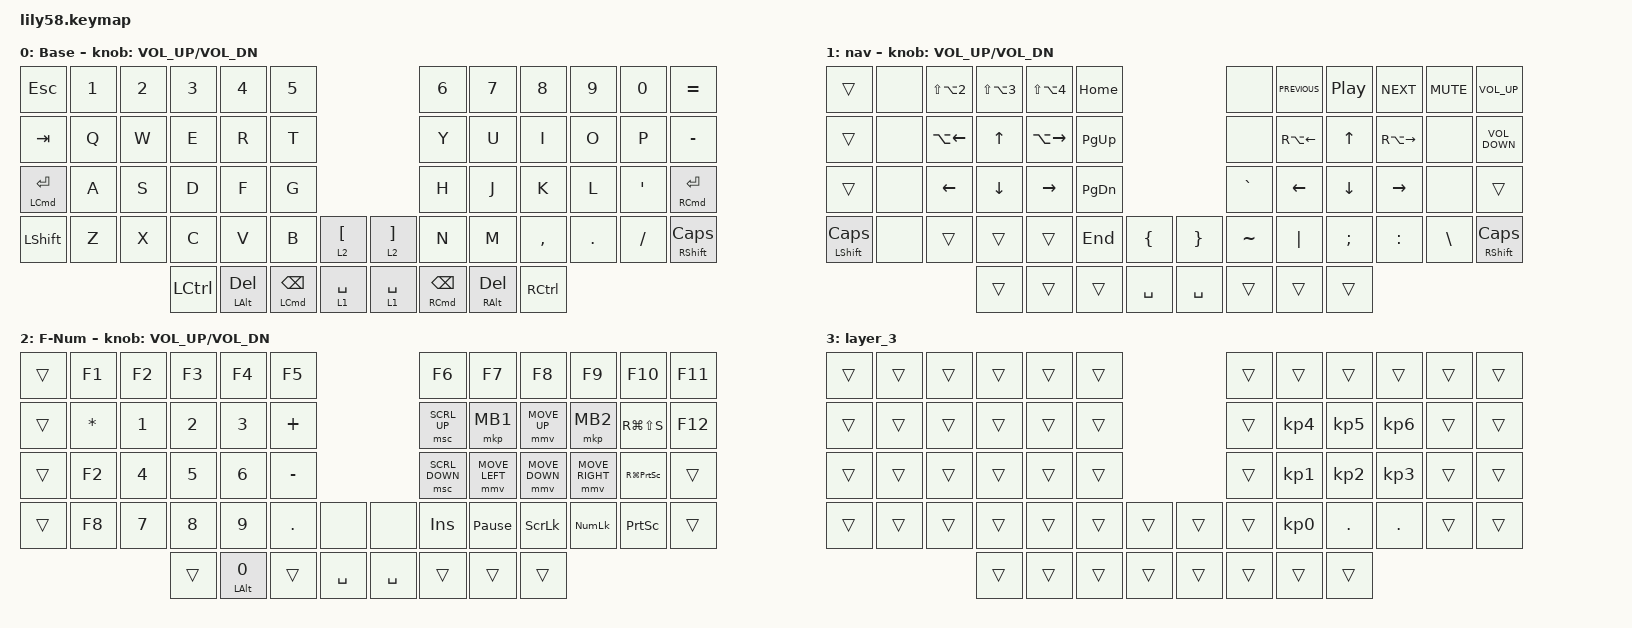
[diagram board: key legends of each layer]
/*
 * Copyright (c) 2020 The ZMK Contributors
 *
 * SPDX-License-Identifier: MIT
 */

#include <behaviors.dtsi>
#include <dt-bindings/zmk/keys.h>
#include <dt-bindings/zmk/pointing.h>

/ {
    behaviors {
        hold_tap_kp_layer: hold_tap_kp_layer {
            compatible = "zmk,behavior-hold-tap";
            label = "HOLD_TAP_KP_LAYER";
            bindings = <&mo>, <&kp>;

            #binding-cells = <2>;
            tapping-term-ms = <200>;
            flavor = "balanced";
            hold-trigger-key-positions = <42 43 53 54>;
        };

        hold_tap_kp_kp: hold_tap_kp_kp {
            compatible = "zmk,behavior-hold-tap";
            label = "HOLD_TAP_KP_KP";
            bindings = <&kp>, <&kp>;

            #binding-cells = <2>;
            tapping-term-ms = <200>;
        };
    };

    keymap {
        compatible = "zmk,keymap";

        default_layer {
            // ------------------------------------------------------------------------------------------------------------
            // |  ESC  |  1  |  2  |  3   |  4   |  5   |                   |  6   |  7    |  8    |  9   |   0   |   `   |
            // |  TAB  |  Q  |  W  |  E   |  R   |  T   |                   |  Y   |  U    |  I    |  O   |   P   |   -   |
            // |  CTRL |  A  |  S  |  D   |  F   |  G   |                   |  H   |  J    |  K    |  L   |   ;   |   '   |
            // | SHIFT |  Z  |  X  |  C   |  V   |  B   |   "["  |  |  "]"  |  N   |  M    |  ,    |  .   |   /   | SHIFT |
            //                     | ALT  | GUI  | LOWER|  SPACE |  | ENTER | RAISE| BSPC  | GUI   |

            display-name = "Base";
            bindings = <
&kp ESC                             &kp N1  &kp N2  &kp N3     &kp N4                        &kp N5                                                                                                           &kp N6                                   &kp N7                         &kp N8     &kp N9   &kp N0          &kp EQUAL
&kp TAB                             &kp Q   &kp W   &kp E      &kp R                         &kp T                                                                                                            &kp Y                                    &kp U                          &kp I      &kp O    &kp P           &kp MINUS
&hold_tap_kp_kp LEFT_COMMAND ENTER  &kp A   &kp S   &kp D      &kp F                         &kp G                                                                                                            &kp H                                    &kp J                          &kp K      &kp L    &kp APOSTROPHE  &hold_tap_kp_kp RIGHT_COMMAND ENTER
&kp LEFT_SHIFT                      &kp Z   &kp X   &kp C      &kp V                         &kp B                                   &hold_tap_kp_layer 2 LEFT_BRACKET    &hold_tap_kp_layer 2 RIGHT_BRACKET  &kp N                                    &kp M                          &kp COMMA  &kp DOT  &kp FSLH        &hold_tap_kp_kp RSHFT CAPS
                                                    &kp LCTRL  &hold_tap_kp_kp LEFT_ALT DEL  &hold_tap_kp_kp LEFT_COMMAND BACKSPACE  &hold_tap_kp_layer 1 SPACE           &hold_tap_kp_layer 1 SPACE          &hold_tap_kp_kp RIGHT_COMMAND BACKSPACE  &hold_tap_kp_kp RIGHT_ALT DEL  &kp RCTRL
            >;

            sensor-bindings = <&inc_dec_kp C_VOL_UP C_VOL_DN>;
        };

        lower_layer {
            // ------------------------------------------------------------------------------------------------------------
            // | BTCLR | BT1 | BT2 |  BT3 |  BT4 |  BT5 |                   |      |       |       |      |       |       |
            // |  F1   |  F2 |  F3 |  F4  |  F5  |  F6  |                   |  F7  |  F8   |  F9   |  F10 |  F11  |  F12  |
            // |   `   |  !  |  @  |  #   |  $   |  %   |                   |  ^   |  &    |  *    |  (   |   )   |   ~   |
            // |       |     |     |      |      |      |        |  |       |      |  _    |  +    |  {   |   }   |  "|"  |
            //                     |      |      |      |        |  |       |      |       |       |

            display-name = "nav";
            bindings = <
&trans                           &none  &kp LS(LA(NUMBER_2))  &kp LS(LA(NUMBER_3))  &kp LS(LA(NUMBER_4))  &kp HOME                                      &none      &kp C_PREVIOUS  &kp C_PLAY_PAUSE  &kp C_NEXT     &kp C_MUTE     &kp C_VOLUME_UP
&trans                           &none  &kp LA(LEFT)          &kp UP                &kp LA(RIGHT)         &kp PG_UP                                     &none      &kp RA(LEFT)    &kp UP            &kp RA(RIGHT)  &none          &kp C_VOLUME_DOWN
&trans                           &none  &kp LEFT              &kp DOWN              &kp RIGHT             &kp PG_DN                                     &kp GRAVE  &kp LEFT        &kp DOWN          &kp RIGHT      &none          &trans
&hold_tap_kp_kp LEFT_SHIFT CAPS  &none  &trans                &trans                &trans                &kp END    &kp LEFT_BRACE    &kp RIGHT_BRACE  &kp TILDE  &kp PIPE        &kp SEMI          &kp COLON      &kp BACKSLASH  &hold_tap_kp_kp RIGHT_SHIFT CAPS
                                                              &trans                &trans                &trans     &kp SPACE         &kp SPACE        &trans     &trans          &trans
            >;

            sensor-bindings = <&inc_dec_kp C_VOL_UP C_VOL_DN>;
        };

        raise_layer {
            // ------------------------------------------------------------------------------------------------------------
            // |       |     |     |      |      |      |                   |      |       |       |      |       |       |
            // |   `   |  1  |  2  |  3   |  4   |  5   |                   |  6   |   7   |   8   |  9   |   0   |       |
            // |   F1  |  F2 |  F3 |  F4  |  F5  |  F6  |                   |      |   <-  |   v   |  ^   |  ->   |       |
            // |   F7  |  F8 |  F9 |  F10 |  F11 |  F12 |        |  |       |  +   |   -   |   =   |  [   |   ]   |   \   |
            //                     |      |      |      |        |  |       |      |       |       |

            display-name = "F-Num";
            bindings = <
&trans  &kp F1    &kp F2        &kp F3        &kp F4                       &kp F5                              &kp F6          &kp F7           &kp F8          &kp F9           &kp F10              &kp F11
&trans  &kp STAR  &kp NUMBER_1  &kp NUMBER_2  &kp NUMBER_3                 &kp PLUS                            &msc SCRL_UP    &mkp MB1         &mmv MOVE_UP    &mkp MB2         &kp RG(LS(S))        &kp F12
&trans  &kp F2    &kp NUMBER_4  &kp N5        &kp NUMBER_6                 &kp MINUS                           &msc SCRL_DOWN  &mmv MOVE_LEFT   &mmv MOVE_DOWN  &mmv MOVE_RIGHT  &kp RG(PRINTSCREEN)  &trans
&trans  &kp F8    &kp N7        &kp N8        &kp N9                       &kp PERIOD  &none        &none      &kp INS         &kp PAUSE_BREAK  &kp SCROLLLOCK  &kp KP_NUMLOCK   &kp PRINTSCREEN      &trans
                                &trans        &hold_tap_kp_kp LEFT_ALT N0  &trans      &kp SPACE    &kp SPACE  &trans          &trans           &trans
            >;

            sensor-bindings = <&inc_dec_kp C_VOL_UP C_VOL_DN>;
        };

        layer_3 {
            bindings = <
&trans  &trans  &trans  &trans  &trans  &trans                    &trans  &trans           &trans           &trans           &trans  &trans
&trans  &trans  &trans  &trans  &trans  &trans                    &trans  &kp KP_NUMBER_4  &kp KP_NUMBER_5  &kp KP_NUMBER_6  &trans  &trans
&trans  &trans  &trans  &trans  &trans  &trans                    &trans  &kp KP_NUMBER_1  &kp KP_NUMBER_2  &kp KP_NUMBER_3  &trans  &trans
&trans  &trans  &trans  &trans  &trans  &trans  &trans    &trans  &trans  &kp KP_NUMBER_0  &kp PERIOD       &kp PERIOD       &trans  &trans
                        &trans  &trans  &trans  &trans    &trans  &trans  &trans           &trans
            >;
        };
    };
};
